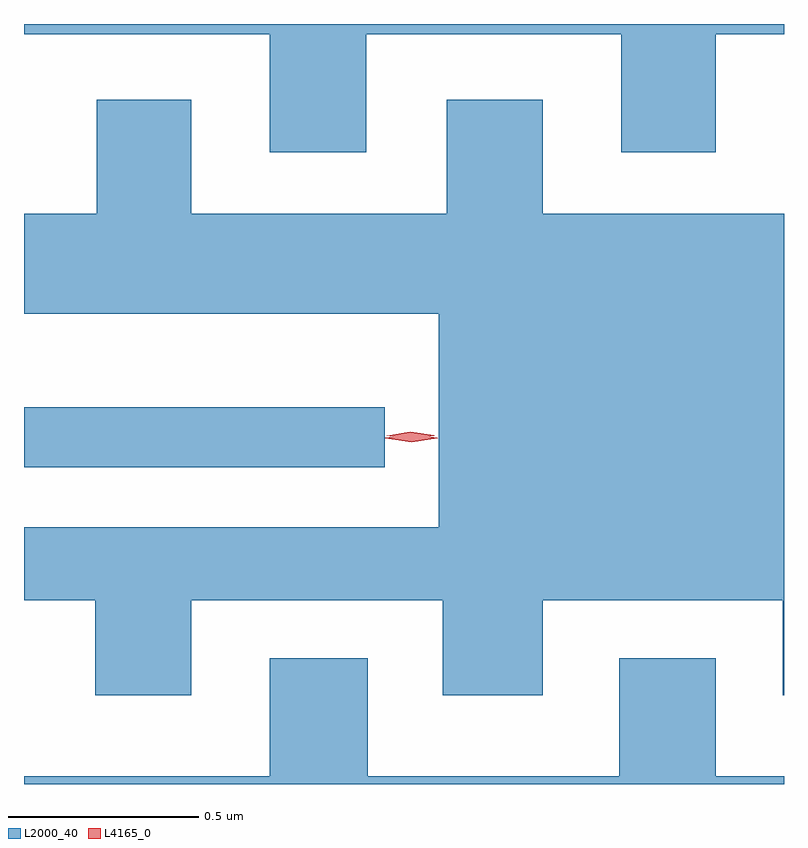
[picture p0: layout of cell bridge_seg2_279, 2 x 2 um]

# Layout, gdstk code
import gdstk
lib = gdstk.Library(unit=1e-6, precision=1e-09)
def R(c, l, rs):  # rectangles x0, y0, x1, y1
    for r in rs: c.add(gdstk.rectangle(r[:2], r[2:], *l))
def P(c, l, *ps):  # polygons
    for p in ps: c.add(gdstk.Polygon(p, *l))
L2000_40 = (2000, 40)
L4165_0 = (4165, 0)

bridge_seg2_279 = lib.new_cell('bridge_seg2_279')
R(bridge_seg2_279, L2000_40, [(639.929,1047.176,640.878,1047.334)])
P(bridge_seg2_279, L2000_40, [(640.829,1048.316),(641.501,1048.316),(641.501,1048.006),(641.749,1048.006),(641.749,1048.316),(641.929,1048.316),(641.929,1048.343),(639.929,1048.343),(639.929,1048.316),(640.576,1048.316),(640.576,1048.006),(640.829,1048.006)],
  [(640.369,1046.826),(641.031,1046.826),(641.031,1046.576),(641.294,1046.576),(641.294,1046.826),(641.926,1046.826),(641.926,1046.576),(641.929,1046.576),(641.929,1047.844),(641.294,1047.844),(641.294,1048.144),(641.041,1048.144),(641.041,1047.844),(640.369,1047.844),(640.369,1048.144),(640.121,1048.144),(640.121,1047.844),(639.929,1047.844),(639.929,1047.581),(641.021,1047.581),(641.021,1047.019),(639.929,1047.019),(639.929,1046.826),(640.116,1046.826),(640.116,1046.576),(640.369,1046.576)],
  [(641.929,1046.364),(641.749,1046.364),(641.749,1046.674),(641.496,1046.674),(641.496,1046.364),(640.834,1046.364),(640.834,1046.674),(640.576,1046.674),(640.576,1046.364),(639.929,1046.364),(639.929,1046.343),(641.929,1046.343)])
P(bridge_seg2_279, L4165_0, [(640.949,1047.243),(640.88,1047.253),(640.879,1047.253),(640.88,1047.254),(640.949,1047.263),(641.017,1047.254),(641.018,1047.253),(641.017,1047.253)],
  [(640.946,1047.25),(640.884,1047.259),(640.883,1047.26),(640.884,1047.26),(640.946,1047.27),(641.008,1047.261),(641.008,1047.26),(641.008,1047.26)])

lib.write_gds('bridge_seg2_279.gds')
